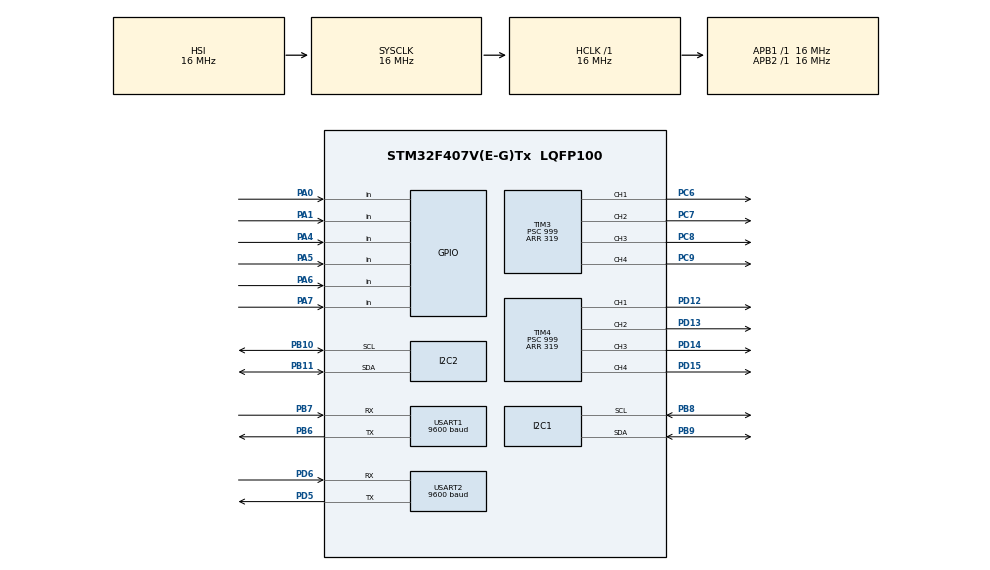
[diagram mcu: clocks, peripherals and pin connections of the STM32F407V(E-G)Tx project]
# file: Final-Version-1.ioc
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Mcu.Family=STM32F4
Mcu.Name=STM32F407V(E-G)Tx
Mcu.Package=LQFP100
NVIC.PriorityGroup=NVIC_PRIORITYGROUP_4
NVIC.TIM3_IRQn=true\:0\:0\:false\:false\:true
NVIC.TIM4_IRQn=true\:0\:0\:false\:false\:true
NVIC.TIM6_DAC_IRQn=true\:0\:0\:false\:false\:true
NVIC.USART1_IRQn=true\:0\:0\:false\:false\:true
PA0-WKUP.Signal=GPIO_Input
PA1.Signal=GPIO_Input
PA13.Mode=Trace_Asynchronous_SW
PA13.Signal=SYS_JTMS-SWDIO
PA14.Mode=Trace_Asynchronous_SW
PA14.Signal=SYS_JTCK-SWCLK
PA4.Signal=GPIO_Input
PA5.Signal=GPIO_Input
PA6.Signal=GPIO_Input
PA7.Signal=GPIO_Input
PB10.Mode=I2C
PB10.Signal=I2C2_SCL
PB11.Mode=I2C
PB11.Signal=I2C2_SDA
PB3.Mode=Trace_Asynchronous_SW
PB3.Signal=SYS_JTDO-SWO
PB6.Mode=Asynchronous
PB6.Signal=USART1_TX
PB7.Mode=Asynchronous
PB7.Signal=USART1_RX
PB8.Mode=I2C
PB8.Signal=I2C1_SCL
PB9.Mode=I2C
PB9.Signal=I2C1_SDA
PC6.Signal=S_TIM3_CH1
PC7.Signal=S_TIM3_CH2
PC8.Signal=S_TIM3_CH3
PC9.Signal=S_TIM3_CH4
PD12.Signal=S_TIM4_CH1
PD13.Signal=S_TIM4_CH2
PD14.Signal=S_TIM4_CH3
PD15.Signal=S_TIM4_CH4
PD5.Mode=Asynchronous
PD5.Signal=USART2_TX
PD6.Mode=Asynchronous
PD6.Signal=USART2_RX
PH0-OSC_IN.Signal=RCC_OSC_IN
PH1-OSC_OUT.Signal=RCC_OSC_OUT
ProjectManager.HeapSize=0x200
ProjectManager.StackSize=0x400
ProjectManager.TargetToolchain=MDK-ARM V5
RCC.AHBFreq_Value=16000000
RCC.APB1Freq_Value=16000000
RCC.APB2Freq_Value=16000000
RCC.CortexFreq_Value=16000000
RCC.HSE_VALUE=25000000
RCC.HSI_VALUE=16000000
RCC.LSE_VALUE=32768
RCC.SYSCLKFreq_VALUE=16000000
RCC.VCOOutputFreq_Value=192000000
SH.S_TIM3_CH1.0=TIM3_CH1,PWM Generation1 CH1
SH.S_TIM3_CH2.0=TIM3_CH2,PWM Generation2 CH2
SH.S_TIM3_CH3.0=TIM3_CH3,PWM Generation3 CH3
SH.S_TIM3_CH4.0=TIM3_CH4,PWM Generation4 CH4
SH.S_TIM4_CH1.0=TIM4_CH1,PWM Generation1 CH1
SH.S_TIM4_CH2.0=TIM4_CH2,PWM Generation2 CH2
SH.S_TIM4_CH3.0=TIM4_CH3,PWM Generation3 CH3
SH.S_TIM4_CH4.0=TIM4_CH4,PWM Generation4 CH4
TIM3.Channel-PWM\ Generation1\ CH1=TIM_CHANNEL_1
TIM3.Channel-PWM\ Generation2\ CH2=TIM_CHANNEL_2
TIM3.Channel-PWM\ Generation3\ CH3=TIM_CHANNEL_3
TIM3.Channel-PWM\ Generation4\ CH4=TIM_CHANNEL_4
TIM3.Period=319
TIM3.Prescaler=999
TIM4.Channel-PWM\ Generation1\ CH1=TIM_CHANNEL_1
TIM4.Channel-PWM\ Generation2\ CH2=TIM_CHANNEL_2
TIM4.Channel-PWM\ Generation3\ CH3=TIM_CHANNEL_3
TIM4.Channel-PWM\ Generation4\ CH4=TIM_CHANNEL_4
TIM4.Period=319
TIM4.Prescaler=999
TIM6.Period=19
TIM6.Prescaler=799
USART1.BaudRate=9600
USART1.VirtualMode=VM_ASYNC
USART2.BaudRate=9600
USART2.VirtualMode=VM_ASYNC
VP_TIM6_VS_ClockSourceINT.Mode=Enable_Timer
board=Final-Version-1

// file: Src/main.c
/**
  ******************************************************************************
  * File Name          : main.c
  * Description        : Main program body
  ******************************************************************************
  ** This notice applies to any and all portions of this file
  * that are not between comment pairs USER CODE BEGIN and
  * USER CODE END. Other portions of this file, whether
  * inserted by the user or by software development tools
  * are owned by their respective copyright owners.
  *
  * COPYRIGHT(c) 2017 STMicroelectronics
  *
  * Redistribution and use in source and binary forms, with or without modification,
  * are permitted provided that the following conditions are met:
  *   1. Redistributions of source code must retain the above copyright notice,
  *      this list of conditions and the following disclaimer.
  *   2. Redistributions in binary form must reproduce the above copyright notice,
  *      this list of conditions and the following disclaimer in the documentation
  *      and/or other materials provided with the distribution.
  *   3. Neither the name of STMicroelectronics nor the names of its contributors
  *      may be used to endorse or promote products derived from this software
  *      without specific prior written permission.
  *
  * THIS SOFTWARE IS PROVIDED BY THE COPYRIGHT HOLDERS AND CONTRIBUTORS "AS IS"
  * AND ANY EXPRESS OR IMPLIED WARRANTIES, INCLUDING, BUT NOT LIMITED TO, THE
  * IMPLIED WARRANTIES OF MERCHANTABILITY AND FITNESS FOR A PARTICULAR PURPOSE ARE
  * DISCLAIMED. IN NO EVENT SHALL THE COPYRIGHT HOLDER OR CONTRIBUTORS BE LIABLE
  * FOR ANY DIRECT, INDIRECT, INCIDENTAL, SPECIAL, EXEMPLARY, OR CONSEQUENTIAL
  * DAMAGES (INCLUDING, BUT NOT LIMITED TO, PROCUREMENT OF SUBSTITUTE GOODS OR
  * SERVICES; LOSS OF USE, DATA, OR PROFITS; OR BUSINESS INTERRUPTION) HOWEVER
  * CAUSED AND ON ANY THEORY OF LIABILITY, WHETHER IN CONTRACT, STRICT LIABILITY,
  * OR TORT (INCLUDING NEGLIGENCE OR OTHERWISE) ARISING IN ANY WAY OUT OF THE USE
  * OF THIS SOFTWARE, EVEN IF ADVISED OF THE POSSIBILITY OF SUCH DAMAGE.
  *
  ******************************************************************************
  */
#include "main.h"
#include "stm32f4xx_hal.h"

I2C_HandleTypeDef hi2c1;
I2C_HandleTypeDef hi2c2;

TIM_HandleTypeDef htim3;
TIM_HandleTypeDef htim4;
TIM_HandleTypeDef htim6;

UART_HandleTypeDef huart1;
UART_HandleTypeDef huart2;

/* USER CODE BEGIN PV */
/* Private variables ---------------------------------------------------------*/

/* USER CODE END PV */

void SystemClock_Config(void);
static void MX_GPIO_Init(void);
static void MX_I2C2_Init(void);
static void MX_TIM3_Init(void);
static void MX_TIM4_Init(void);
static void MX_USART1_UART_Init(void);
static void MX_USART2_UART_Init(void);
static void MX_I2C1_Init(void);
static void MX_TIM6_Init(void);

void HAL_TIM_MspPostInit(TIM_HandleTypeDef *htim);

/* USER CODE BEGIN PFP */
/* Private function prototypes -----------------------------------------------*/

/* USER CODE END PFP */

/* USER CODE BEGIN 0 */
// User Defined Function Declarations
void Bluetooth_Send_Accelerometer(signed short int x, signed short int y, signed short int z);
void Bluetooth_Send(char * message, uint16_t length);
void Bluetooth_Pack_and_Send(void);
void DRV_Setup(void);
void DRV_SelectLibrary(uint8_t lib);
void DRV_SetWaveform(uint8_t slot, uint8_t lib);
void DRV_SetMode(uint8_t mode);
void DRV_Go(void);
void DRV_Stop(void);
void DRV_UseERM(void);
void DRV_UseLRA(void);
void Haptics_VibrateHigh(void);
void Haptics_VibrateMid(void);
void Haptics_VibrateLow(void);
void ServoUp(void);
void ServoDown(void);

// Electrical Component Constants
// ADXL345 Accelerometer
uint16_t ADXL_DEV_ADDR = 0x53 << 1; // STM requires device address to be shifted by 1 bit
uint8_t ADXL_POWCTL = 0x2D;
uint8_t ADXL_DATAPTR = 0x32;
// DRV2605L Haptic Driver
uint16_t DRV2605_DEVICE = 0x5A << 1;
uint8_t DRV2605_REG_STATUS = 0x00;
uint8_t DRV2605_REG_MODE = 0x01;
uint8_t DRV2605_MODE_INTTRIG = 0x00;
uint8_t DRV2605_MODE_EXTIRIGEDGE = 0x01;
uint8_t DRV2605_MODE_EXTIGLVL = 0x02;
uint8_t DRV2605_MODE_PWMANALOG = 0x03;
uint8_t DRV2605_MODE_AUDIOVIBE = 0x04;
uint8_t DRV2605_MODE_REALTIME = 0x05;
uint8_t DRV2605_MODE_DIAGNOS = 0x06;
uint8_t DRV2605_MODE_AUTOCAL = 0x07;

uint8_t DRV2605_REG_RTPIN = 0x02;
uint8_t DRV2605_REG_LIBRARY = 0x03;
uint8_t DRV2605_REG_WAVESEQ1 = 0x04;
uint8_t DRV2605_REG_WAVESEQ2 = 0x05;
uint8_t DRV2605_REG_WAVESEQ3 = 0x06;
uint8_t DRV2605_REG_WAVESEQ4 = 0x07;
uint8_t DRV2605_REG_WAVESEQ5 = 0x08;
uint8_t DRV2605_REG_WAVESEQ6 = 0x09;
uint8_t DRV2605_REG_WAVESEQ7 = 0x0A;
uint8_t DRV2605_REG_WAVESEQ8 = 0x0B;

uint8_t DRV2605_REG_GO = 0x0C;
uint8_t DRV2605_REG_OVERDRIVE = 0x0D;
uint8_t DRV2605_REG_SUSTAINPOS = 0x0E;
uint8_t DRV2605_REG_SUSTAINNEG = 0x0F;
uint8_t DRV2605_REG_BREAK = 0x10;
uint8_t DRV2605_REG_AUDIOCTRL = 0x11;
uint8_t DRV2605_REG_AUDIOLVL = 0x12;
uint8_t DRV2605_REG_AUDIOMAX = 0x13;
uint8_t DRV2605_REG_RATEDV = 0x16;
uint8_t DRV2605_REG_CLAMPV = 0x17;
uint8_t DRV2605_REG_AUTOCALCOMP = 0x18;
uint8_t DRV2605_REG_AUTOCALEMP = 0x19;
uint8_t DRV2605_REG_FEEDBACK = 0x1A;
uint8_t DRV2605_REG_CONTROL1 = 0x1B;
uint8_t DRV2605_REG_CONTROL2 = 0x1C;
uint8_t DRV2605_REG_CONTROL3 = 0x1D;
uint8_t DRV2605_REG_CONTROL4 = 0x1E;
uint8_t DRV2605_REG_VBAT = 0x21;
uint8_t DRV2605_REG_LRARESON = 0x22;

// Servo Parameters
const long int TIM4_CCR_DEG_0 = 16;
const long int TIM4_CCR_DEG_45 = 24; // average of degree 0 and degree 90, 1.5 ms
const long int TIM4_CCR_DEG_90 = 32;
uint8_t ServoState = 0; // 0 - IDLE, 1 - Slide Up, 2 - Slide Down

// Vibration Motor Parameters
const uint8_t TIM4_CCR_VIB_5 = 144;
const uint8_t TIM4_CCR_VIB_4 = 112;
const uint8_t TIM4_CCR_VIB_3 = 80;
const uint8_t TIM4_CCR_VIB_2 = 64;
const uint8_t TIM4_CCR_VIB_1 = 32;
const uint8_t TIM4_CCR_VIB_0 = 0;

uint8_t vib_slot_index = 0;
uint8_t vib_slot_size = 5;
uint8_t vib_slot[5];
uint8_t vib_flag = 0;
uint8_t torque_flag = 0;
uint8_t torque_ct = 0;

// Buffer Data Structure
uint8_t adxl_buffer[6];
signed short int x;
signed short int y;
signed short int z;

// I2C Buffer
uint8_t i2c_data[2];

// bluetooth receive buffer
uint8_t buffrec[5];
uint8_t prev_buffrec;

// haptic driver buffer
uint8_t buff_haptic[1];

// timer flags
uint8_t onems_ct;
uint8_t tenms_ct;
uint8_t hunms_ct;
uint8_t tenms;
uint8_t hunms;
uint8_t onesec;

// i2c transmit/ receive flag
uint8_t is_i2c_transmitted;

// pushbutton status
uint8_t pushNONE;
uint8_t pushSEL;
uint8_t pushINC;
uint8_t pushDEC;
uint8_t pushBEF;
uint8_t pushNXT;

int i = 0;

void HAL_TIM_PeriodElapsedCallback(TIM_HandleTypeDef *htim)
{
	if (htim -> Instance == TIM6) {
		onems_ct++;
	  if (onems_ct >= 10){
		  onems_ct = 0;
		  tenms = 1;
		  tenms_ct++;
			if (tenms_ct >= 10){
				tenms_ct = 0;
				hunms = 1;
				hunms_ct++;
				if (hunms_ct >= 10){
					hunms_ct = 0;
					onesec = 1;
				}
			}
	  }
	}
}

/* USER CODE END 0 */

int main(void)
{

  /* USER CODE BEGIN 1 */

	onems_ct = 0;
	tenms_ct = 0;
  hunms_ct = 0;
  tenms = 0;
  hunms = 0;
  onesec = 0;

	is_i2c_transmitted = 0;

	vib_flag = 0;
	torque_flag = 0;

  /* USER CODE END 1 */

  /* MCU Configuration----------------------------------------------------------*/

  /* Reset of all peripherals, Initializes the Flash interface and the Systick. */
  HAL_Init();

  /* Configure the system clock */
  SystemClock_Config();

  /* Initialize all configured peripherals */
  MX_GPIO_Init();
  MX_I2C2_Init();
  MX_TIM3_Init();
  MX_TIM4_Init();
  MX_USART1_UART_Init();
  MX_USART2_UART_Init();
  MX_I2C1_Init();
  MX_TIM6_Init();

  /* USER CODE BEGIN 2 */

	// USART and Bluetooth Interrupt Initializations
	__HAL_UART_ENABLE_IT(&huart1, UART_IT_RXNE);

	// I2C and ADXL345 Accelerometer initializations
	i2c_data[0] = ADXL_POWCTL;
	i2c_data[1] = 0;
	HAL_I2C_Master_Transmit(&hi2c1, ADXL_DEV_ADDR, i2c_data, 2, 100);
	i2c_data[0] = ADXL_POWCTL;
	i2c_data[1] = 16;
	HAL_I2C_Master_Transmit(&hi2c1, ADXL_DEV_ADDR, i2c_data, 2, 100);
	i2c_data[0] = ADXL_POWCTL;
	i2c_data[1] = 8;
	HAL_I2C_Master_Transmit(&hi2c1, ADXL_DEV_ADDR, i2c_data, 2, 100);

	//DRV_Setup();

	// Start Timer
	HAL_TIM_Base_Start_IT(&htim3);
	HAL_TIM_Base_Start_IT(&htim4);
	HAL_TIM_Base_Start_IT(&htim6);

	HAL_TIM_PWM_Start(&htim4, TIM_CHANNEL_1);
  HAL_TIM_PWM_Start(&htim4, TIM_CHANNEL_2);
	HAL_TIM_PWM_Start(&htim4, TIM_CHANNEL_3);
	HAL_TIM_PWM_Start(&htim4, TIM_CHANNEL_4);
	TIM4->CCR1 = 0;
	TIM4->CCR2 = 0;
	TIM4->CCR3 = 0;
	TIM4->CCR4 = 0;

	HAL_Delay(1000);

  /* USER CODE END 2 */

  /* Infinite loop */
  while (1)
  {

  /* USER CODE BEGIN 3 */

		// retrieve the membrane pushbutton status
		pushNONE = HAL_GPIO_ReadPin(GPIOA, GPIO_PIN_0);
		pushSEL = HAL_GPIO_ReadPin(GPIOA, GPIO_PIN_1);
		pushDEC = HAL_GPIO_ReadPin(GPIOA, GPIO_PIN_4);
		pushINC = HAL_GPIO_ReadPin(GPIOA, GPIO_PIN_5);
		pushBEF = HAL_GPIO_ReadPin(GPIOA, GPIO_PIN_6);
		pushNXT = HAL_GPIO_ReadPin(GPIOA, GPIO_PIN_7);

		if (tenms){
			tenms = 0;

			if (!is_i2c_transmitted){
				// Receive a haptic command from Bluetooth
				prev_buffrec = buffrec[0];
				HAL_UART_Receive(&huart1, buffrec, 5, 1);

				// If haptic command is received, decode command
				if (prev_buffrec != buffrec[0]){

					// Decode and respond to command
					if (buffrec[0] == 0x56)
					{
						Haptics_VibrateHigh();
						ServoUp();
					} else if (buffrec[0] == 0x57){
						Haptics_VibrateHigh();
						ServoDown();
					} else if (buffrec[0] == 0x66){
						Haptics_VibrateMid();
						ServoUp();
					} else if (buffrec[0] == 0x67){
						Haptics_VibrateMid();
						ServoDown();
					} else if (buffrec[0] == 0x76){
						Haptics_VibrateLow();
						ServoUp();
					} else if (buffrec[0] == 0x77) {
						Haptics_VibrateLow();
						ServoDown();
					}

					prev_buffrec = 0;
					buffrec[0] = 0;
				}

				// reset sliding handle to center after 0.2 sec
				if (torque_flag) {
					torque_ct++;
					if (torque_ct >= 10) {
						torque_ct = 0;
						torque_flag = 0;
						TIM4->CCR1 = TIM4_CCR_DEG_45;
					}
				} else {
						TIM4->CCR1 = TIM4_CCR_DEG_45;
				}

				// ping the accelerometer data from I2C line
				i2c_data[0] = ADXL_DATAPTR;
		    HAL_I2C_Master_Transmit(&hi2c1, ADXL_DEV_ADDR, i2c_data, 1, 100);
				is_i2c_transmitted = 1;
			}else{
				// Receive the accelerometer data from I2C line
				HAL_I2C_Master_Receive(&hi2c1, ADXL_DEV_ADDR, adxl_buffer, 6, 100);
				is_i2c_transmitted = 0;

				// parse the accelerometer data
				x = (((signed short int) adxl_buffer[1]) << 8) | adxl_buffer[0];
				y = (((signed short int) adxl_buffer[3]) << 8) | adxl_buffer[2];
				z = (((signed short int) adxl_buffer[5]) << 8) | adxl_buffer[4];

				// Transmit packet data to bluetooth
				//Bluetooth_Send_Accelerometer(x, y, z);
				Bluetooth_Pack_and_Send();
			}

		}

		if (hunms){
		  hunms = 0;

			// Enable vibration when receiving vibration command
			if (vib_flag){
				TIM4->CCR2 = vib_slot[vib_slot_index];
				TIM4->CCR3 = vib_slot[vib_slot_index];
				TIM4->CCR4 = vib_slot[vib_slot_index];
				// Disable vibration when timeout
				if (vib_slot_index >= vib_slot_size){
					vib_flag = 0;
					vib_slot_index = 0;
				}
				vib_slot_index++;
			} else {
				TIM4->CCR2 = TIM4_CCR_VIB_0;
				TIM4->CCR3 = TIM4_CCR_VIB_0;
				TIM4->CCR4 = TIM4_CCR_VIB_0;
				vib_slot_index = 0;
			}

		}

		// debugging counter
		if (onesec){
			onesec = 0;
			i++;

		}
  }
  /* USER CODE END 3 */

}

/** System Clock Configuration
*/
void SystemClock_Config(void)
{

  RCC_OscInitTypeDef RCC_OscInitStruct;
  RCC_ClkInitTypeDef RCC_ClkInitStruct;

    /**Configure the main internal regulator output voltage
    */
  __HAL_RCC_PWR_CLK_ENABLE();

  __HAL_PWR_VOLTAGESCALING_CONFIG(PWR_REGULATOR_VOLTAGE_SCALE1);

    /**Initializes the CPU, AHB and APB busses clocks
    */
  RCC_OscInitStruct.OscillatorType = RCC_OSCILLATORTYPE_HSI;
  RCC_OscInitStruct.HSIState = RCC_HSI_ON;
  RCC_OscInitStruct.HSICalibrationValue = 16;
  RCC_OscInitStruct.PLL.PLLState = RCC_PLL_NONE;
  if (HAL_RCC_OscConfig(&RCC_OscInitStruct) != HAL_OK)
  {
    _Error_Handler(__FILE__, __LINE__);
  }

    /**Initializes the CPU, AHB and APB busses clocks
    */
  RCC_ClkInitStruct.ClockType = RCC_CLOCKTYPE_HCLK|RCC_CLOCKTYPE_SYSCLK
                              |RCC_CLOCKTYPE_PCLK1|RCC_CLOCKTYPE_PCLK2;
  RCC_ClkInitStruct.SYSCLKSource = RCC_SYSCLKSOURCE_HSI;
  RCC_ClkInitStruct.AHBCLKDivider = RCC_SYSCLK_DIV1;
  RCC_ClkInitStruct.APB1CLKDivider = RCC_HCLK_DIV1;
  RCC_ClkInitStruct.APB2CLKDivider = RCC_HCLK_DIV1;

  if (HAL_RCC_ClockConfig(&RCC_ClkInitStruct, FLASH_LATENCY_0) != HAL_OK)
  {
    _Error_Handler(__FILE__, __LINE__);
  }

    /**Configure the Systick interrupt time
    */
  HAL_SYSTICK_Config(HAL_RCC_GetHCLKFreq()/1000);

    /**Configure the Systick
    */
  HAL_SYSTICK_CLKSourceConfig(SYSTICK_CLKSOURCE_HCLK);

  /* SysTick_IRQn interrupt configuration */
  HAL_NVIC_SetPriority(SysTick_IRQn, 0, 0);
}

/* I2C1 init function */
static void MX_I2C1_Init(void)
{

  hi2c1.Instance = I2C1;
  hi2c1.Init.ClockSpeed = 100000;
  hi2c1.Init.DutyCycle = I2C_DUTYCYCLE_2;
  hi2c1.Init.OwnAddress1 = 0;
  hi2c1.Init.AddressingMode = I2C_ADDRESSINGMODE_7BIT;
  hi2c1.Init.DualAddressMode = I2C_DUALADDRESS_DISABLE;
  hi2c1.Init.OwnAddress2 = 0;
  hi2c1.Init.GeneralCallMode = I2C_GENERALCALL_DISABLE;
  hi2c1.Init.NoStretchMode = I2C_NOSTRETCH_DISABLE;
  if (HAL_I2C_Init(&hi2c1) != HAL_OK)
  {
    _Error_Handler(__FILE__, __LINE__);
  }

}

/* I2C2 init function */
static void MX_I2C2_Init(void)
{

  hi2c2.Instance = I2C2;
  hi2c2.Init.ClockSpeed = 100000;
  hi2c2.Init.DutyCycle = I2C_DUTYCYCLE_2;
  hi2c2.Init.OwnAddress1 = 0;
  hi2c2.Init.AddressingMode = I2C_ADDRESSINGMODE_7BIT;
  hi2c2.Init.DualAddressMode = I2C_DUALADDRESS_DISABLE;
  hi2c2.Init.OwnAddress2 = 0;
  hi2c2.Init.GeneralCallMode = I2C_GENERALCALL_DISABLE;
  hi2c2.Init.NoStretchMode = I2C_NOSTRETCH_DISABLE;
  if (HAL_I2C_Init(&hi2c2) != HAL_OK)
  {
    _Error_Handler(__FILE__, __LINE__);
  }

}

/* TIM3 init function */
static void MX_TIM3_Init(void)
{

  TIM_MasterConfigTypeDef sMasterConfig;
  TIM_OC_InitTypeDef sConfigOC;

  htim3.Instance = TIM3;
  htim3.Init.Prescaler = 999;
  htim3.Init.CounterMode = TIM_COUNTERMODE_UP;
  htim3.Init.Period = 319;
  htim3.Init.ClockDivision = TIM_CLOCKDIVISION_DIV1;
  if (HAL_TIM_PWM_Init(&htim3) != HAL_OK)
  {
    _Error_Handler(__FILE__, __LINE__);
  }

  sMasterConfig.MasterOutputTrigger = TIM_TRGO_RESET;
  sMasterConfig.MasterSlaveMode = TIM_MASTERSLAVEMODE_DISABLE;
  if (HAL_TIMEx_MasterConfigSynchronization(&htim3, &sMasterConfig) != HAL_OK)
  {
    _Error_Handler(__FILE__, __LINE__);
  }

  sConfigOC.OCMode = TIM_OCMODE_PWM1;
  sConfigOC.Pulse = 0;
  sConfigOC.OCPolarity = TIM_OCPOLARITY_HIGH;
  sConfigOC.OCFastMode = TIM_OCFAST_DISABLE;
  if (HAL_TIM_PWM_ConfigChannel(&htim3, &sConfigOC, TIM_CHANNEL_1) != HAL_OK)
  {
    _Error_Handler(__FILE__, __LINE__);
  }

  if (HAL_TIM_PWM_ConfigChannel(&htim3, &sConfigOC, TIM_CHANNEL_2) != HAL_OK)
  {
    _Error_Handler(__FILE__, __LINE__);
  }

  if (HAL_TIM_PWM_ConfigChannel(&htim3, &sConfigOC, TIM_CHANNEL_3) != HAL_OK)
  {
    _Error_Handler(__FILE__, __LINE__);
  }

  if (HAL_TIM_PWM_ConfigChannel(&htim3, &sConfigOC, TIM_CHANNEL_4) != HAL_OK)
  {
    _Error_Handler(__FILE__, __LINE__);
  }

  HAL_TIM_MspPostInit(&htim3);

}

/* TIM4 init function */
static void MX_TIM4_Init(void)
{

  TIM_MasterConfigTypeDef sMasterConfig;
  TIM_OC_InitTypeDef sConfigOC;

  htim4.Instance = TIM4;
  htim4.Init.Prescaler = 999;
  htim4.Init.CounterMode = TIM_COUNTERMODE_UP;
  htim4.Init.Period = 319;
  htim4.Init.ClockDivision = TIM_CLOCKDIVISION_DIV1;
  if (HAL_TIM_PWM_Init(&htim4) != HAL_OK)
  {
    _Error_Handler(__FILE__, __LINE__);
  }

  sMasterConfig.MasterOutputTrigger = TIM_TRGO_RESET;
  sMasterConfig.MasterSlaveMode = TIM_MASTERSLAVEMODE_DISABLE;
  if (HAL_TIMEx_MasterConfigSynchronization(&htim4, &sMasterConfig) != HAL_OK)
  {
    _Error_Handler(__FILE__, __LINE__);
  }

  sConfigOC.OCMode = TIM_OCMODE_PWM1;
  sConfigOC.Pulse = 0;
  sConfigOC.OCPolarity = TIM_OCPOLARITY_HIGH;
  sConfigOC.OCFastMode = TIM_OCFAST_DISABLE;
  if (HAL_TIM_PWM_ConfigChannel(&htim4, &sConfigOC, TIM_CHANNEL_1) != HAL_OK)
  {
    _Error_Handler(__FILE__, __LINE__);
  }

  if (HAL_TIM_PWM_ConfigChannel(&htim4, &sConfigOC, TIM_CHANNEL_2) != HAL_OK)
  {
    _Error_Handler(__FILE__, __LINE__);
  }

  if (HAL_TIM_PWM_ConfigChannel(&htim4, &sConfigOC, TIM_CHANNEL_3) != HAL_OK)
  {
    _Error_Handler(__FILE__, __LINE__);
  }

  if (HAL_TIM_PWM_ConfigChannel(&htim4, &sConfigOC, TIM_CHANNEL_4) != HAL_OK)
  {
    _Error_Handler(__FILE__, __LINE__);
  }

  HAL_TIM_MspPostInit(&htim4);

}

/* TIM6 init function */
static void MX_TIM6_Init(void)
{

  TIM_MasterConfigTypeDef sMasterConfig;

  htim6.Instance = TIM6;
  htim6.Init.Prescaler = 799;
  htim6.Init.CounterMode = TIM_COUNTERMODE_UP;
  htim6.Init.Period = 19;
  if (HAL_TIM_Base_Init(&htim6) != HAL_OK)
  {
    _Error_Handler(__FILE__, __LINE__);
  }

  sMasterConfig.MasterOutputTrigger = TIM_TRGO_RESET;
  sMasterConfig.MasterSlaveMode = TIM_MASTERSLAVEMODE_DISABLE;
  if (HAL_TIMEx_MasterConfigSynchronization(&htim6, &sMasterConfig) != HAL_OK)
  {
    _Error_Handler(__FILE__, __LINE__);
  }

}

/* USART1 init function */
static void MX_USART1_UART_Init(void)
{

  huart1.Instance = USART1;
  huart1.Init.BaudRate = 9600;
  huart1.Init.WordLength = UART_WORDLENGTH_8B;
  huart1.Init.StopBits = UART_STOPBITS_1;
  huart1.Init.Parity = UART_PARITY_NONE;
  huart1.Init.Mode = UART_MODE_TX_RX;
  huart1.Init.HwFlowCtl = UART_HWCONTROL_NONE;
  huart1.Init.OverSampling = UART_OVERSAMPLING_16;
  if (HAL_UART_Init(&huart1) != HAL_OK)
  {
    _Error_Handler(__FILE__, __LINE__);
  }

}

/* USART2 init function */
static void MX_USART2_UART_Init(void)
{

  huart2.Instance = USART2;
  huart2.Init.BaudRate = 9600;
  huart2.Init.WordLength = UART_WORDLENGTH_8B;
  huart2.Init.StopBits = UART_STOPBITS_1;
  huart2.Init.Parity = UART_PARITY_NONE;
  huart2.Init.Mode = UART_MODE_TX_RX;
  huart2.Init.HwFlowCtl = UART_HWCONTROL_NONE;
  huart2.Init.OverSampling = UART_OVERSAMPLING_16;
  if (HAL_UART_Init(&huart2) != HAL_OK)
  {
    _Error_Handler(__FILE__, __LINE__);
  }

}

/** Configure pins as
        * Analog
        * Input
        * Output
        * EVENT_OUT
        * EXTI
*/
static void MX_GPIO_Init(void)
{

  GPIO_InitTypeDef GPIO_InitStruct;

  /* GPIO Ports Clock Enable */
  __HAL_RCC_GPIOH_CLK_ENABLE();
  __HAL_RCC_GPIOA_CLK_ENABLE();
  __HAL_RCC_GPIOB_CLK_ENABLE();
  __HAL_RCC_GPIOD_CLK_ENABLE();
  __HAL_RCC_GPIOC_CLK_ENABLE();

  /*Configure GPIO pins : PA0 PA1 PA4 PA5
                           PA6 PA7 */
  GPIO_InitStruct.Pin = GPIO_PIN_0|GPIO_PIN_1|GPIO_PIN_4|GPIO_PIN_5
                          |GPIO_PIN_6|GPIO_PIN_7;
  GPIO_InitStruct.Mode = GPIO_MODE_INPUT;
  GPIO_InitStruct.Pull = GPIO_NOPULL;
  HAL_GPIO_Init(GPIOA, &GPIO_InitStruct);

}

/* USER CODE BEGIN 4 */

void Bluetooth_Send_Accelerometer(signed short int x, signed short int y, signed short int z)
{
	char * bluetooth_buff;
	uint8_t tmp;

	if (x >= 100){

		tmp = (x / 100) % 10 + 48;
		HAL_UART_Transmit(&huart1, &tmp, 1, 20);
		tmp = (x / 10) % 10 + 48;
		HAL_UART_Transmit(&huart1, &tmp, 1, 20);
		tmp = (x % 10) + 48;
		HAL_UART_Transmit(&huart1, &tmp, 1, 20);

	} else if (x >= 10){

		tmp = (x / 10) % 10 + 48;
		HAL_UART_Transmit(&huart1, &tmp, 1, 20);
		tmp = (x % 10) + 48;
		HAL_UART_Transmit(&huart1, &tmp, 1, 20);

	} else if (x >= 0){

		tmp = (x % 10) + 48;
		HAL_UART_Transmit(&huart1, &tmp, 1, 20);

	} else if (x >= -9){

		bluetooth_buff = "-";
		HAL_UART_Transmit(&huart1, (uint8_t *)bluetooth_buff, 1, 20);
		tmp = (-x % 10) + 48;
		HAL_UART_Transmit(&huart1, &tmp, 1, 20);

	} else if (x >= -99){

		bluetooth_buff = "-";
		HAL_UART_Transmit(&huart1, (uint8_t *)bluetooth_buff, 1, 20);
		tmp = (-x / 10) % 10 + 48;
		HAL_UART_Transmit(&huart1, &tmp, 1, 20);
		tmp = (-x % 10) + 48;
		HAL_UART_Transmit(&huart1, &tmp, 1, 20);

	} else{

		bluetooth_buff = "-";
		HAL_UART_Transmit(&huart1, (uint8_t *)bluetooth_buff, 1, 20);
		tmp = (-x / 100) % 10 + 48;
		HAL_UART_Transmit(&huart1, &tmp, 1, 20);
		tmp = (-x / 10) % 10 + 48;
		HAL_UART_Transmit(&huart1, &tmp, 1, 20);
		tmp = (-x % 10) + 48;
		HAL_UART_Transmit(&huart1, &tmp, 1, 20);

	}

	bluetooth_buff = ",";
	HAL_UART_Transmit(&huart1, (uint8_t *)bluetooth_buff, 1, 20);

	if (y >= 100){

		tmp = (y / 100) % 10 + 48;
		HAL_UART_Transmit(&huart1, &tmp, 1, 20);
		tmp = (y / 10) % 10 + 48;
		HAL_UART_Transmit(&huart1, &tmp, 1, 20);
		tmp = (y % 10) + 48;
		HAL_UART_Transmit(&huart1, &tmp, 1, 20);

	} else if (y >= 10){

		tmp = (y / 10) % 10 + 48;
		HAL_UART_Transmit(&huart1, &tmp, 1, 20);
		tmp = (y % 10) + 48;
		HAL_UART_Transmit(&huart1, &tmp, 1, 20);

	} else if (y >= 0){

		tmp = (y % 10) + 48;
		HAL_UART_Transmit(&huart1, &tmp, 1, 20);

	} else if (y >= -9){

		bluetooth_buff = "-";
		HAL_UART_Transmit(&huart1, (uint8_t *)bluetooth_buff, 1, 20);
		tmp = (-y % 10) + 48;
		HAL_UART_Transmit(&huart1, &tmp, 1, 20);

	} else if (y >= -99){

		bluetooth_buff = "-";
		HAL_UART_Transmit(&huart1, (uint8_t *)bluetooth_buff, 1, 20);
		tmp = (-y / 10) % 10 + 48;
		HAL_UART_Transmit(&huart1, &tmp, 1, 20);
		tmp = (-y % 10) + 48;
		HAL_UART_Transmit(&huart1, &tmp, 1, 20);

	} else{

		bluetooth_buff = "-";
		HAL_UART_Transmit(&huart1, (uint8_t *)bluetooth_buff, 1, 20);
		tmp = (-y / 100) % 10 + 48;
		HAL_UART_Transmit(&huart1, &tmp, 1, 20);
		tmp = (-y / 10) % 10 + 48;
		HAL_UART_Transmit(&huart1, &tmp, 1, 20);
		tmp = (-y % 10) + 48;
		HAL_UART_Transmit(&huart1, &tmp, 1, 20);

	}

	bluetooth_buff = ",";
	HAL_UART_Transmit(&huart1, (uint8_t *)bluetooth_buff, 1, 20);

	if (z >= 100){

		tmp = (z / 100) % 10 + 48;
		HAL_UART_Transmit(&huart1, &tmp, 1, 20);
		tmp = (z / 10) % 10 + 48;
		HAL_UART_Transmit(&huart1, &tmp, 1, 20);
		tmp = (z % 10) + 48;
		HAL_UART_Transmit(&huart1, &tmp, 1, 20);

	} else if (z >= 10){

		tmp = (z / 10) % 10 + 48;
		HAL_UART_Transmit(&huart1, &tmp, 1, 20);
		tmp = (z % 10) + 48;
		HAL_UART_Transmit(&huart1, &tmp, 1, 20);

	} else if (z >= 0){

		tmp = (z % 10) + 48;
		HAL_UART_Transmit(&huart1, &tmp, 1, 20);

	} else if (z >= -9){

		bluetooth_buff = "-";
		HAL_UART_Transmit(&huart1, (uint8_t *)bluetooth_buff, 1, 20);
		tmp = (-z % 10) + 48;
		HAL_UART_Transmit(&huart1, &tmp, 1, 20);

	} else if (z >= -99){

		bluetooth_buff = "-";
		HAL_UART_Transmit(&huart1, (uint8_t *)bluetooth_buff, 1, 20);
		tmp = (-z / 10) % 10 + 48;
		HAL_UART_Transmit(&huart1, &tmp, 1, 20);
		tmp = (-z % 10) + 48;
		HAL_UART_Transmit(&huart1, &tmp, 1, 20);

	} else{

		bluetooth_buff = "-";
		HAL_UART_Transmit(&huart1, (uint8_t *)bluetooth_buff, 1, 20);
		tmp = (-z / 100) % 10 + 48;
		HAL_UART_Transmit(&huart1, &tmp, 1, 20);
		tmp = (-z / 10) % 10 + 48;
		HAL_UART_Transmit(&huart1, &tmp, 1, 20);
		tmp = (-z % 10) + 48;
		HAL_UART_Transmit(&huart1, &tmp, 1, 20);

	}

	bluetooth_buff = "\n\r";
	HAL_UART_Transmit(&huart1, (uint8_t *)bluetooth_buff, 2, 20);
}

void Bluetooth_Send(char * message, uint16_t length)
{
	HAL_UART_Transmit(&huart1, (uint8_t *)message, length, 20);
}

void Bluetooth_Pack_and_Send()
{
	uint8_t trans_byte;
	char * bluetooth_buff;

	// data structure:
	// <LX>, <HX>, <,>, <LY>, <HY>, <,>, <LZ>, <HZ>, <,>, <0,0,NONE,SEL,INC,DEC,BEF,NXT>, <\n>, <\r>

	trans_byte = adxl_buffer[0]; // lower byte of adxl x
	HAL_UART_Transmit(&huart1, &trans_byte, 1, 20);
	trans_byte = adxl_buffer[1]; // higher byte of adxl x
	HAL_UART_Transmit(&huart1, &trans_byte, 1, 20);

	bluetooth_buff = ",";
	HAL_UART_Transmit(&huart1, (uint8_t *)bluetooth_buff, 1, 20);

	trans_byte = adxl_buffer[2]; // lower byte of adxl y
	HAL_UART_Transmit(&huart1, &trans_byte, 1, 20);
	trans_byte = adxl_buffer[3]; // higher byte of adxl y
	HAL_UART_Transmit(&huart1, &trans_byte, 1, 20);

  bluetooth_buff = ",";
	HAL_UART_Transmit(&huart1, (uint8_t *)bluetooth_buff, 1, 20);

	trans_byte = adxl_buffer[4]; // lower byte of adxl z
	HAL_UART_Transmit(&huart1, &trans_byte, 1, 20);
	trans_byte = adxl_buffer[5]; // higher byte of adxl z
	HAL_UART_Transmit(&huart1, &trans_byte, 1, 20);

  bluetooth_buff = ",";
	HAL_UART_Transmit(&huart1, (uint8_t *)bluetooth_buff, 1, 20);

	// pushbutton bits
	trans_byte =  (pushNONE << 5) | (pushSEL << 4) | (pushINC << 3) | (pushDEC << 2) | (pushBEF << 1) | pushNXT;
	HAL_UART_Transmit(&huart1, &trans_byte, 1, 20);

	bluetooth_buff = "\n\r";
	HAL_UART_Transmit(&huart1, (uint8_t *)bluetooth_buff, 2, 20);
}

void DRV_Setup()
{
	i2c_data[0] = DRV2605_REG_MODE;
	i2c_data[1] = 0x00;
	HAL_I2C_Master_Transmit(&hi2c1, DRV2605_DEVICE, i2c_data, 2, 100);
  HAL_Delay(10);
	i2c_data[0] = DRV2605_REG_RTPIN;
	i2c_data[1] = 0x00;
	HAL_I2C_Master_Transmit(&hi2c1, DRV2605_DEVICE, i2c_data, 2, 100);
  HAL_Delay(10);
  i2c_data[0] = DRV2605_REG_OVERDRIVE;
	i2c_data[1] = 0x00;
	HAL_I2C_Master_Transmit(&hi2c1, DRV2605_DEVICE, i2c_data, 2, 100);
	HAL_Delay(10);
	i2c_data[0] = DRV2605_REG_SUSTAINPOS;
	i2c_data[1] = 0x00;
	HAL_I2C_Master_Transmit(&hi2c1, DRV2605_DEVICE, i2c_data, 2, 100);
	HAL_Delay(10);
	i2c_data[0] = DRV2605_REG_SUSTAINNEG;
	i2c_data[1] = 0x00;
	HAL_I2C_Master_Transmit(&hi2c1, DRV2605_DEVICE, i2c_data, 2, 100);
	HAL_Delay(10);
	i2c_data[0] = DRV2605_REG_BREAK;
	i2c_data[1] = 0x00;
	HAL_I2C_Master_Transmit(&hi2c1, DRV2605_DEVICE, i2c_data, 2, 100);
	HAL_Delay(10);
	i2c_data[0] = DRV2605_REG_AUDIOMAX;
	i2c_data[1] = 0x64;
	HAL_I2C_Master_Transmit(&hi2c1, DRV2605_DEVICE, i2c_data, 2, 100);
	HAL_Delay(10);

	DRV_UseLRA();

	// turn on ERM_LRA_LOOP
	i2c_data[0] = DRV2605_REG_CONTROL3;
	HAL_I2C_Master_Transmit(&hi2c1, DRV2605_DEVICE, i2c_data, 1, 100);
	HAL_Delay(10);
	HAL_I2C_Master_Receive(&hi2c1, DRV2605_DEVICE, buff_haptic, 1, 100);
	i2c_data[0] = DRV2605_REG_CONTROL3;
	i2c_data[1] = buff_haptic[0] | 0x20;
	HAL_I2C_Master_Transmit(&hi2c1, DRV2605_DEVICE, i2c_data, 2, 100);
	HAL_Delay(10);

	DRV_SelectLibrary(1);
	DRV_SetMode(DRV2605_MODE_INTTRIG);
}

void DRV_SelectLibrary(uint8_t lib)
{
	i2c_data[0] = DRV2605_REG_LIBRARY;
	i2c_data[1] = lib;
	HAL_I2C_Master_Transmit(&hi2c1, DRV2605_DEVICE, i2c_data, 2, 100);
}
void DRV_SetWaveform(uint8_t slot, uint8_t lib)
{
	i2c_data[0] = DRV2605_REG_WAVESEQ1 + slot;
	i2c_data[1] = lib;
	HAL_I2C_Master_Transmit(&hi2c1, DRV2605_DEVICE, i2c_data, 2, 100);
}
void DRV_SetMode(uint8_t mode)
{
  i2c_data[0] = DRV2605_REG_MODE;
	i2c_data[1] = mode;
	HAL_I2C_Master_Transmit(&hi2c1, DRV2605_DEVICE, i2c_data, 2, 100);
}
void DRV_Go(void)
{
  i2c_data[0] = DRV2605_REG_GO;
	i2c_data[1] = 1;
	HAL_I2C_Master_Transmit(&hi2c1, DRV2605_DEVICE, i2c_data, 2, 100);
}
void DRV_Stop(void)
{
  i2c_data[0] = DRV2605_REG_GO;
	i2c_data[1] = 0;
	HAL_I2C_Master_Transmit(&hi2c1, DRV2605_DEVICE, i2c_data, 2, 100);
}
void DRV_UseERM(void)
{
  i2c_data[0] = DRV2605_REG_FEEDBACK;
	HAL_I2C_Master_Transmit(&hi2c1, DRV2605_DEVICE, i2c_data, 1, 100);
	HAL_Delay(10);
	HAL_I2C_Master_Receive(&hi2c1, DRV2605_DEVICE, buff_haptic, 1, 100);
	i2c_data[0] = DRV2605_REG_FEEDBACK;
	i2c_data[1] = buff_haptic[0] & 0x7F;
	HAL_I2C_Master_Transmit(&hi2c1, DRV2605_DEVICE, i2c_data, 2, 100);
	HAL_Delay(10);
}
void DRV_UseLRA(void)
{
  i2c_data[0] = DRV2605_REG_FEEDBACK;
	HAL_I2C_Master_Transmit(&hi2c1, DRV2605_DEVICE, i2c_data, 1, 100);
	HAL_Delay(10);
	HAL_I2C_Master_Receive(&hi2c1, DRV2605_DEVICE, buff_haptic, 1, 100);
	i2c_data[0] = DRV2605_REG_FEEDBACK;
	i2c_data[1] = buff_haptic[0] | 0x80;
	HAL_I2C_Master_Transmit(&hi2c1, DRV2605_DEVICE, i2c_data, 2, 100);
	HAL_Delay(10);
}

void Haptics_VibrateHigh(void)
{
	// set DRV registers
	DRV_SetWaveform(0, 7);
	DRV_SetWaveform(1, 1);
	DRV_SetWaveform(2, 1);
	DRV_SetWaveform(3, 0);
	DRV_Go();

	// set PWM parameters
	vib_slot[0] = TIM4_CCR_VIB_4;
	vib_slot[1] = TIM4_CCR_VIB_5;
	vib_slot[2] = TIM4_CCR_VIB_5;
	vib_slot[3] = TIM4_CCR_VIB_5;
	vib_slot[4] = TIM4_CCR_VIB_2;
	vib_flag = 1;
}
void Haptics_VibrateMid(void)
{
	// set DRV registers
	DRV_SetWaveform(0, 7);
	DRV_SetWaveform(1, 1);
	DRV_SetWaveform(2, 0);
	DRV_SetWaveform(3, 0);
	DRV_Go();

	// set PWM parameters
	vib_slot[0] = TIM4_CCR_VIB_3;
	vib_slot[1] = TIM4_CCR_VIB_4;
	vib_slot[2] = TIM4_CCR_VIB_4;
	vib_slot[3] = TIM4_CCR_VIB_3;
	vib_slot[4] = TIM4_CCR_VIB_1;
	vib_flag = 1;
}
void Haptics_VibrateLow(void)
{
	DRV_SetWaveform(0, 9);
	DRV_SetWaveform(1, 9);
	DRV_SetWaveform(2, 0);
	DRV_SetWaveform(3, 0);
	DRV_Go();

	// set PWM parameters
	vib_slot[0] = TIM4_CCR_VIB_2;
	vib_slot[1] = TIM4_CCR_VIB_3;
	vib_slot[2] = TIM4_CCR_VIB_2;
	vib_slot[3] = TIM4_CCR_VIB_1;
	vib_slot[4] = TIM4_CCR_VIB_0;
	vib_flag = 1;
}

void ServoUp(void)
{
	TIM4->CCR1 = TIM4_CCR_DEG_90;
	torque_flag = 1;

}
void ServoDown(void)
{
	TIM4->CCR1 = TIM4_CCR_DEG_0;
	torque_flag = 1;
}

/* USER CODE END 4 */

void _Error_Handler(char * file, int line)
{
  while(1)
  {
  }
}

/************************ (C) COPYRIGHT STMicroelectronics *****END OF FILE****/
